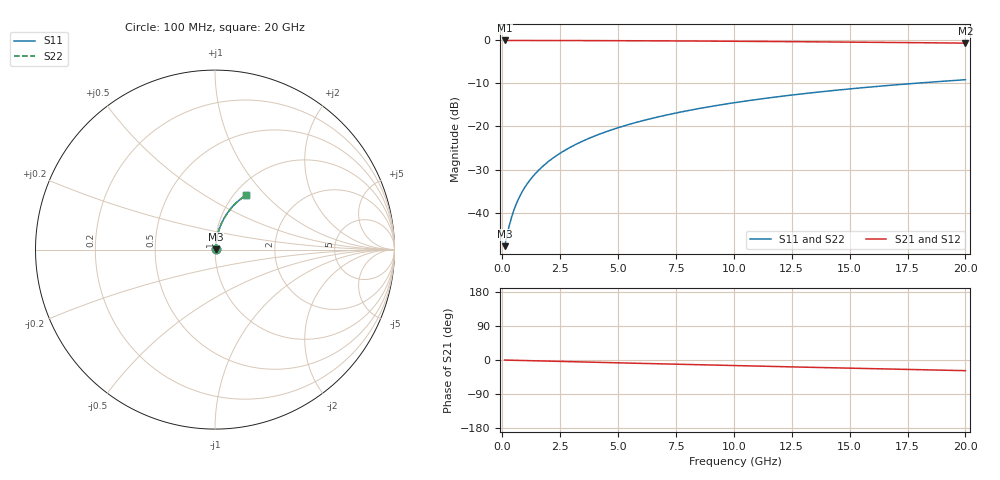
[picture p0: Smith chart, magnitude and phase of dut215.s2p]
! Touchstone file exported from HFSS 2026.1.0
!  File:  C:/ffzhzh/LocalFiles/Ansys_Project_Files/temp_train_BSMRDL_215_1782987957_42984.aedt
!  Generated:  06:27:11 PM Jul  2, 2026
!  Design:  BSMRDL
!  Project:  temp_train_BSMRDL_215_1782987957_42984
! Variables:
!  h_bsmrdl = 3.01um
!  h_ox = 20um
!  h_rdl = 5um
!  h_sub = 80um
!  h_tmrdl = 5um
!  h_tsv = 80um
!  h_via = 3um
!  l_bsmrdl = 319.54um
!  l_sub = 719.54um
!  l_tmrdl = 200um
!  m_sub = 200um
!  pitch = 46.53um
!  r_tsv = 6um
!  s_tmrdl = 10um
!  w_bsmrdl = 11.01um
!  w_sub = 500um
!  w_tmrdl = 12um
!  x_tsv_center1 = 206um
!  x_tsv_center2 = 536.55um
!  x_tsv_center3 = 748.55um
!  x_tsv_center4 = 1079.1um
!  x_tsv_center5 = 1291.1um
!  x_tsv_center6 = 1621.65um
# GHz S MA R 50.000000
! Terminal data exported
! Port[1] = BSM_RDL1_1_T1
! Port[2] = BSM_RDL1_1_T2
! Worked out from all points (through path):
!   200 points, 100 MHz to 20 GHz, reference 50 ohm
!   highest |S21| = -0.03 dB at 100 MHz (marker M1); lowest = -0.7 dB at 20 GHz (marker M2)
!   group delay of S21, straight-line fit = 3.91 ps
!   lowest |S11| = -47.8 dB at 100 MHz (marker M3), VSWR 1.01, Z = 50.4 + j0.203 ohm
!   |S11| at or under -10 dB: start of sweep to 17.78 GHz
!   |S22| runs from -47.8 to -9.1 dB; largest |S21 - S12| = 3.9e-15
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0.1  0.004075 29.6  0.9965 -0.2  0.9965 -0.2  0.004075 29.6
! Gamma 0 0 0 0
! Port Impedance 50 0 50 0
0.3  0.007035 58.7  0.9964 -0.5  0.9964 -0.5  0.007035 58.7
0.4  0.008822 64.9  0.9963 -0.6  0.9963 -0.6  0.008822 64.9
0.5  0.01067 68.9  0.9962 -0.8  0.9962 -0.8  0.01067 68.9
0.6  0.01255 71.7  0.9962 -0.9  0.9962 -0.9  0.01255 71.7
0.7  0.01444 73.7  0.9961 -1.1  0.9961 -1.1  0.01444 73.7
0.9  0.01824 76.3  0.996 -1.4  0.996 -1.4  0.01824 76.3
1.2  0.02397 78.6  0.9957 -1.8  0.9957 -1.8  0.02397 78.6
1.4  0.0278 79.5  0.9956 -2.1  0.9956 -2.1  0.0278 79.5
1.7  0.03355 80.4  0.9953 -2.6  0.9953 -2.6  0.03356 80.4
2.2  0.04317 81.1  0.9949 -3.3  0.9949 -3.3  0.04317 81.1
2.8  0.0547 81.3  0.9942 -4.2  0.9942 -4.2  0.0547 81.2
3.5  0.06813 81.0  0.9932 -5.2  0.9932 -5.2  0.06813 81.0
4.2  0.0815 80.5  0.992 -6.3  0.992 -6.3  0.08151 80.4
5  0.09669 79.7  0.9904 -7.5  0.9904 -7.5  0.0967 79.6
5.9  0.1136 78.6  0.9883 -8.8  0.9883 -8.8  0.1136 78.6
6.8  0.1304 77.5  0.986 -10.1  0.986 -10.1  0.1304 77.5
8.3  0.1579 75.6  0.9814 -12.3  0.9814 -12.3  0.1579 75.5
10.1  0.1901 73.2  0.9751 -14.8  0.9751 -14.8  0.1901 73.1
13.4  0.2467 68.8  0.9613 -19.4  0.9613 -19.4  0.2467 68.7
16.7  0.2997 64.5  0.9453 -23.8  0.9453 -23.8  0.2997 64.4
20  0.3489 60.4  0.9277 -28.1  0.9277 -28.1  0.3489 60.2
